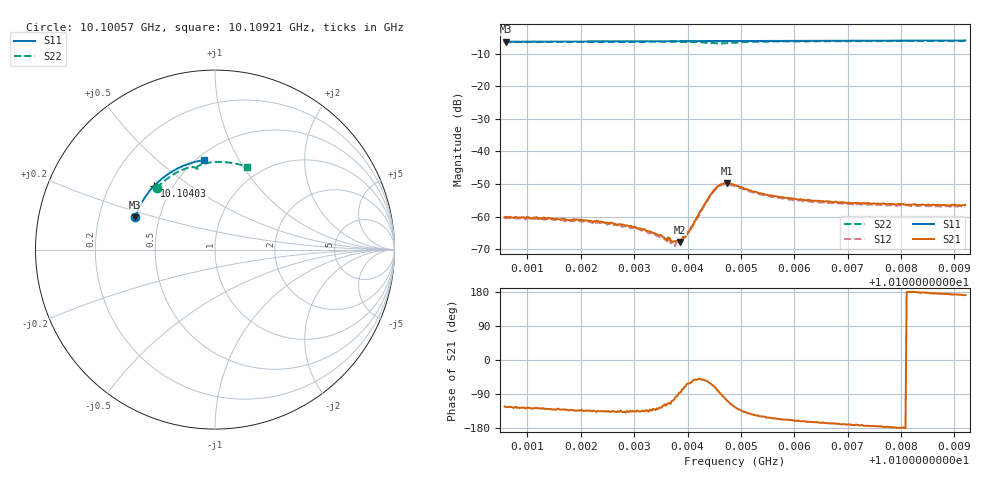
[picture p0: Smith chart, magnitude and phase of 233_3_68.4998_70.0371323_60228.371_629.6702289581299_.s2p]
#  HZ  S  RI  R  50.00
! Rohde & Schwarz Vector Network Analyzer
! Rohde-Schwarz,ZNB20-2Port,1311601062101988,3.16
! Created: UTC 3/20/2024, 4:59:02 PM
! freq[Hz]  re:S11  im:S11  re:S21  im:S21  re:S12  im:S12  re:S22  im:S22
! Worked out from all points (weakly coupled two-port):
!   401 points, 10.10057 GHz to 10.10921 GHz, reference 50 ohm
!   highest |S21| = -49.69 dB at 10.10474 GHz (marker M1); lowest = -67.8 dB at 10.10385 GHz (marker M2)
!   lowest |S11| = -6.4 dB at 10.10059 GHz (marker M3), VSWR 2.85, Z = 18.1 + j8.5 ohm
!   |S11| at or under -10 dB: nowhere
!   |S22| runs from -6.9 to -6.1 dB; largest |S21 - S12| = 0.00031
!   S11 on the Smith chart (normalised r, x): 10.10057 GHz: 0.36, +0.17; 10.10403 GHz: 0.40, +0.37; 10.10921 GHz: 0.54, +0.72
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1.0100572e10  -0.4459 0.1791  -0.000532 -0.000827  -0.000479 -0.000831  -0.3253 0.3435
1.0100594e10  -0.4454 0.1803  -0.000559 -0.000821  -0.000486 -0.000801  -0.3244 0.3444
1.0102019e10  -0.4099 0.2595  -0.00058 -0.000661  -0.00052 -0.000645  -0.2541 0.4042
1.0102623e10  -0.3907 0.2908  -0.00055 -0.000535  -0.000481 -0.000552  -0.2203 0.4253
1.0102861e10  -0.3825 0.3027  -0.000516 -0.000515  -0.00044 -0.000523  -0.2065 0.4327
1.0103206e10  -0.37 0.3195  -0.000444 -0.000448  -0.000378 -0.000469  -0.1854 0.4428
1.0103465e10  -0.36 0.3317  -0.000302 -0.000417  -0.000251 -0.000413  -0.1689 0.4494
1.0103573e10  -0.3558 0.3367  -0.000204 -0.000408  -0.000193 -0.000412  -0.1618 0.4522
1.0103724e10  -0.3498 0.3436  -0.00013 -0.000396  -6.78e-05 -0.000399  -0.1512 0.4552
1.0103854e10  -0.3444 0.3495  3.24e-05 -0.000407  3.42e-05 -0.000413  -0.142 0.4575
1.0103918e10  -0.3418 0.3522  0.000115 -0.00048  0.000144 -0.000435  -0.1371 0.4584
1.0104026e10  -0.3372 0.357  0.000281 -0.000528  0.000317 -0.000477  -0.1288 0.4594
1.0104458e10  -0.3185 0.3751  0.000968 -0.00211  0.00111 -0.00195  -0.098 0.448
1.0104545e10  -0.3145 0.3788  0.000627 -0.00272  0.000846 -0.00256  -0.0979 0.4431
1.0104609e10  -0.3117 0.3812  0.000145 -0.00308  0.000399 -0.00294  -0.1 0.4412
1.0104739e10  -0.3059 0.3862  -0.000968 -0.00313  -0.000687 -0.00305  -0.1048 0.445
1.010489e10  -0.299 0.3923  -0.00171 -0.00252  -0.00146 -0.00254  -0.1027 0.4556
1.0105192e10  -0.2849 0.4039  -0.00199 -0.0015  -0.00178 -0.0016  -0.0845 0.4707
1.0105494e10  -0.2701 0.4147  -0.0019 -0.000992  -0.00171 -0.00115  -0.0634 0.4786
1.0106336e10  -0.227 0.4421  -0.00169 -0.000498  -0.00154 -0.000638  -0.00668 0.4877
1.0107783e10  -0.1472 0.4777  -0.00156 -7.36e-05  -0.00146 -0.000206  0.0872 0.484
1.0109208e10  -0.0636 0.4984  -0.0015 0.000226  -0.00139 7.28e-05  0.1756 0.4625
